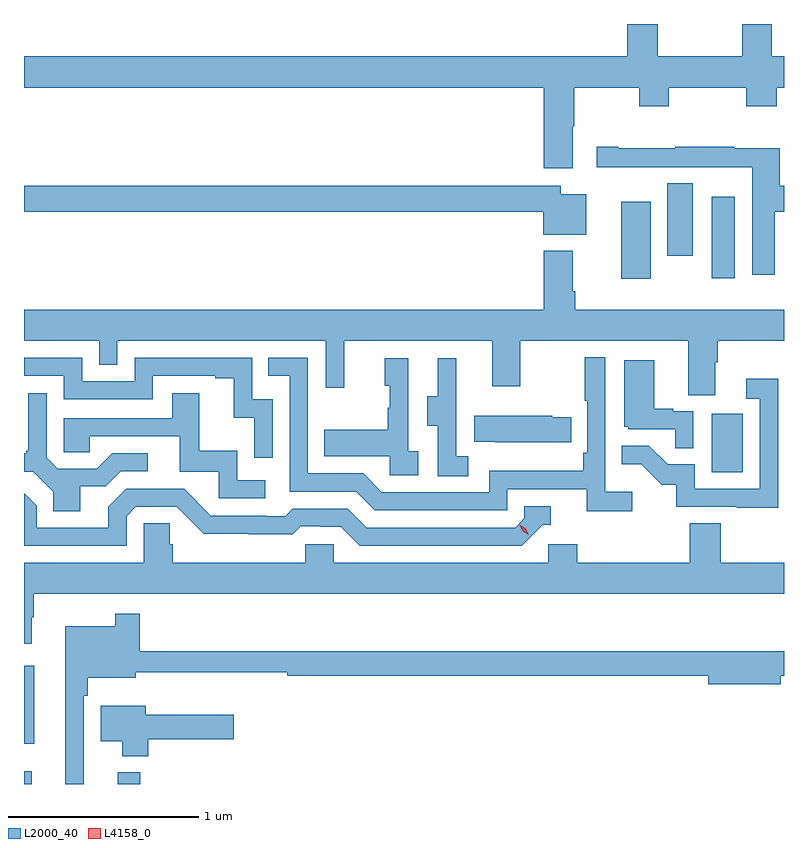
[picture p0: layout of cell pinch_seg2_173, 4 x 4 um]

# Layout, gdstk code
import gdstk
lib = gdstk.Library(unit=1e-6, precision=1e-09)
def R(c, l, rs):  # rectangles x0, y0, x1, y1
    for r in rs: c.add(gdstk.rectangle(r[:2], r[2:], *l))
def P(c, l, *ps):  # polygons
    for p in ps: c.add(gdstk.Polygon(p, *l))
L2000_40 = (2000, 40)
L4158_0 = (4158, 0)

pinch_seg2_173 = lib.new_cell('pinch_seg2_173')
R(pinch_seg2_173, L2000_40, [(1080.822,643.971,1080.863,644.038), (1081.316,643.971,1081.433,644.032), (1080.822,644.183,1080.877,644.593), (1084.442,645.612,1084.606,645.919), (1083.965,646.629,1084.12,647.035), (1084.442,646.632,1084.564,647.062), (1084.208,646.752,1084.342,647.132)])
P(pinch_seg2_173, L2000_40, [(1084.603,647.8),(1084.158,647.8),(1084.158,647.971),(1083.998,647.971),(1083.998,647.8),(1080.822,647.8),(1080.822,647.636),(1083.557,647.636),(1083.557,647.211),(1083.709,647.211),(1083.709,647.432),(1083.717,647.432),(1083.717,647.636),(1084.06,647.636),(1084.06,647.537),(1084.215,647.537),(1084.215,647.636),(1084.624,647.636),(1084.624,647.537),(1084.784,647.537),(1084.784,647.636),(1084.822,647.636),(1084.822,647.8),(1084.758,647.8),(1084.758,647.971),(1084.603,647.971)],
  [(1084.772,646.984),(1084.822,646.984),(1084.822,647.12),(1084.799,647.12),(1084.799,647.316),(1084.559,647.316),(1084.559,647.326),(1084.249,647.326),(1084.249,647.316),(1083.949,647.316),(1083.949,647.326),(1083.837,647.326),(1083.837,647.216),(1084.112,647.216),(1084.112,647.217),(1084.446,647.217),(1084.446,647.216),(1084.656,647.216),(1084.656,646.65),(1084.772,646.65)],
  [(1083.781,647.074),(1083.648,647.074),(1083.648,647.12),(1080.822,647.12),(1080.822,646.984),(1083.554,646.984),(1083.554,646.862),(1083.781,646.862)],
  [(1084.459,646.192),(1084.472,646.192),(1084.472,646.304),(1084.822,646.304),(1084.822,646.468),(1083.722,646.468),(1083.722,646.564),(1083.709,646.564),(1083.709,646.777),(1083.557,646.777),(1083.557,646.468),(1080.822,646.468),(1080.822,646.304),(1081.218,646.304),(1081.218,646.177),(1081.314,646.177),(1081.314,646.304),(1082.409,646.304),(1082.409,646.056),(1082.507,646.056),(1082.507,646.304),(1083.287,646.304),(1083.287,646.065),(1083.435,646.065),(1083.435,646.304),(1084.319,646.304),(1084.319,646.018),(1084.459,646.018)],
  [(1084.024,645.508),(1083.882,645.508),(1083.882,646.216),(1083.774,646.216),(1083.774,645.988),(1083.786,645.988),(1083.786,645.715),(1083.766,645.715),(1083.766,645.619),(1083.27,645.619),(1083.27,645.507),(1082.706,645.507),(1082.607,645.606),(1082.316,645.606),(1082.316,646.215),(1082.107,646.215),(1082.107,646.119),(1082.22,646.119),(1082.22,645.51),(1082.57,645.51),(1082.669,645.411),(1083.366,645.411),(1083.366,645.522),(1083.785,645.522),(1083.785,645.406),(1084.024,645.406)],
  [(1082.13,645.996),(1082.022,645.996),(1082.022,646.215),(1081.404,646.215),(1081.404,646.092),(1081.128,646.092),(1081.128,646.215),(1080.822,646.215),(1080.822,646.119),(1081.032,646.119),(1081.032,645.996),(1081.5,645.996),(1081.5,646.119),(1081.829,646.119),(1081.829,646.107),(1081.925,646.107),(1081.925,645.899),(1082.034,645.899),(1082.034,645.687),(1082.13,645.687)],
  [(1082.896,645.722),(1082.844,645.722),(1082.844,646.213),(1082.72,646.213),(1082.72,646.068),(1082.746,646.068),(1082.746,645.95),(1082.736,645.95),(1082.736,645.835),(1082.401,645.835),(1082.401,645.695),(1082.748,645.695),(1082.748,645.597),(1082.896,645.597)],
  [(1083.16,645.695),(1083.096,645.695),(1083.096,645.999),(1083.098,645.999),(1083.098,646.213),(1082.999,646.213),(1082.999,646.011),(1082.945,646.011),(1082.945,645.856),(1083,645.856),(1083,645.592),(1083.16,645.592)],
  [(1084.344,645.933),(1084.238,645.933),(1084.238,645.946),(1084.138,645.946),(1084.138,646.201),(1083.98,646.201),(1083.98,645.852),(1084.002,645.852),(1084.002,645.837),(1084.249,645.837),(1084.249,645.739),(1084.344,645.739)],
  [(1084.791,646.105),(1084.623,646.105),(1084.623,645.999),(1084.695,645.999),(1084.695,645.525),(1084.353,645.525),(1084.353,645.654),(1084.209,645.654),(1084.111,645.752),(1083.967,645.752),(1083.967,645.653),(1084.071,645.653),(1084.178,645.546),(1084.255,645.546),(1084.255,645.429),(1084.573,645.429),(1084.573,645.424),(1084.791,645.424)],
  [(1082.092,645.57),(1081.944,645.57),(1081.944,645.724),(1081.745,645.724),(1081.745,646.027),(1081.601,646.027),(1081.601,645.897),(1081.032,645.897),(1081.032,645.717),(1081.169,645.717),(1081.169,645.801),(1081.643,645.801),(1081.643,645.615),(1081.848,645.615),(1081.848,645.474),(1082.092,645.474)],
  [(1081.117,645.538),(1081.252,645.538),(1081.332,645.618),(1081.474,645.618),(1081.474,645.711),(1081.286,645.711),(1081.205,645.63),(1080.999,645.63),(1080.942,645.687),(1080.942,646.027),(1080.845,646.027),(1080.845,645.724),(1080.834,645.724),(1080.834,645.712),(1080.822,645.712),(1080.822,645.615),(1080.87,645.615),(1080.977,645.508),(1080.977,645.406),(1081.117,645.406)],
  [(1083.701,645.9),(1083.603,645.9),(1083.603,645.91),(1083.193,645.91),(1083.193,645.773),(1083.301,645.773),(1083.301,645.77),(1083.701,645.77)],
  [(1081.362,645.381),(1081.41,645.429),(1081.626,645.429),(1081.768,645.287),(1082.004,645.287),(1082.004,645.285),(1082.237,645.285),(1082.279,645.327),(1082.382,645.327),(1082.382,645.324),(1082.489,645.324),(1082.588,645.225),(1083.441,645.225),(1083.552,645.336),(1083.595,645.336),(1083.595,645.432),(1083.456,645.432),(1083.456,645.369),(1083.408,645.321),(1082.625,645.321),(1082.526,645.42),(1082.237,645.42),(1082.198,645.381),(1082.099,645.381),(1082.099,645.384),(1081.806,645.384),(1081.665,645.525),(1081.359,645.525),(1081.265,645.431),(1081.265,645.321),(1080.888,645.321),(1080.888,645.435),(1080.822,645.501),(1080.822,645.225),(1081.362,645.225)],
  [(1081.452,645.344),(1081.452,645.136),(1080.822,645.136),(1080.822,644.709),(1080.862,644.709),(1080.862,644.849),(1080.874,644.849),(1080.874,644.972),(1084.822,644.972),(1084.822,645.136),(1084.49,645.136),(1084.49,645.344),(1084.325,645.344),(1084.325,645.136),(1083.734,645.136),(1083.734,645.234),(1083.582,645.234),(1083.582,645.136),(1082.451,645.136),(1082.451,645.234),(1082.301,645.234),(1082.301,645.136),(1081.604,645.136),(1081.604,645.234),(1081.589,645.234),(1081.589,645.344)],
  [(1081.137,644.435),(1081.157,644.435),(1081.157,644.531),(1081.411,644.531),(1081.411,644.56),(1082.207,644.56),(1082.207,644.542),(1084.424,644.542),(1084.424,644.495),(1084.804,644.495),(1084.804,644.542),(1084.822,644.542),(1084.822,644.671),(1081.43,644.671),(1081.43,644.866),(1081.302,644.866),(1081.302,644.8),(1081.04,644.8),(1081.04,643.971),(1081.137,643.971)],
  [(1081.475,644.206),(1081.927,644.206),(1081.927,644.335),(1081.462,644.335),(1081.462,644.383),(1081.226,644.383),(1081.226,644.195),(1081.34,644.195),(1081.34,644.117),(1081.475,644.117)])
P(pinch_seg2_173, L4158_0, [(1083.479,645.282),(1083.448,645.302),(1083.432,645.335),(1083.432,645.335),(1083.432,645.335),(1083.463,645.315),(1083.479,645.283),(1083.479,645.282)])

lib.write_gds('pinch_seg2_173.gds')
